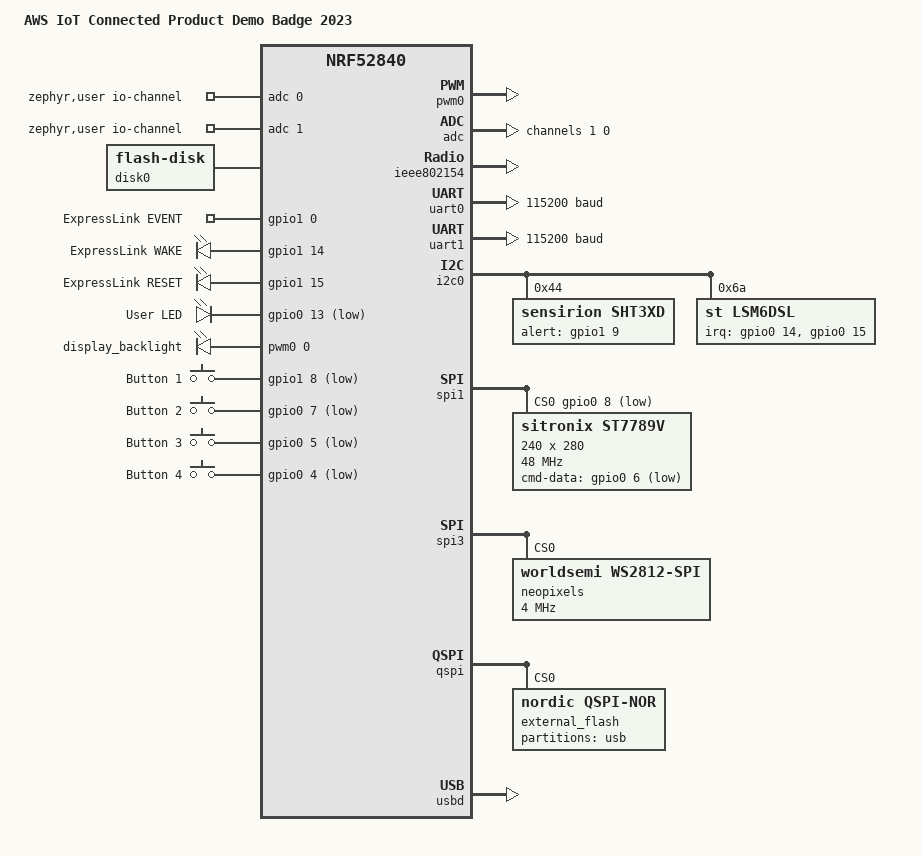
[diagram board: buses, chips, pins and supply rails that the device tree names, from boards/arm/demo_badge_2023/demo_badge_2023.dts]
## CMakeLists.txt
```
cmake_minimum_required(VERSION 3.20.0)

find_package(Zephyr REQUIRED HINTS $ENV{ZEPHYR_BASE})
project(demo-badge-2023)

FILE(GLOB app_sources
    src/*.c
    src/**/*.c
    ext/*.c
)

target_sources(app PRIVATE ${app_sources})

zephyr_include_directories(
    include
    ext
)
```

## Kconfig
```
mainmenu "AWS IoT Connected Product Demo Badge 2023"

menu "Amazon Sidewalk"

config SM_TIMER_DEMO_CAPABILITY_PERIOD_MS
        prompt "Capability period in ms"
        int
        default 5000
        help
               Delay in ms to wait after device is registered to send capability to cloud

config SM_TIMER_CONNECT_LINK_TYPE_1_DELAY_MS
        prompt "BLE Connection request delay after inactivity in ms"
        int
        default 60000
        help
                If operating in BLE mode the connection request has to be sent before any message can be send.
                This config determines delay between connection requests.

config SM_TIMER_CONNECT_LINK_TYPE_1_INIT_DELAY_MS
        prompt "BLE Initial connection request delay in ms"
        int
        default 5000
        help
                After device has been registered and time sync the connection request has to be sent.
                This config determines the delay before first connection request.

config SM_TIMER_DEMO_NOTIFY_SENSOR_DATA_PERIOD_MS
        prompt "Sensor data sending period in ms"
        int
        default 15000
        help
                Period between sending sensor messages from device to cloud.
                Those messages also contain the state of buttons.

endmenu

rsource "${ZEPHYR_BASE}/../sidewalk/samples/common/Kconfig.defconfig"

source "Kconfig.zephyr"
```

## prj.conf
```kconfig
CONFIG_DEBUG_INFO=y
CONFIG_DEBUG_THREAD_INFO=y

CONFIG_MPU_STACK_GUARD=y

CONFIG_HEAP_MEM_POOL_SIZE=70000

# Logging
CONFIG_LOG=y
CONFIG_LOG_OUTPUT_FORMAT_LINUX_TIMESTAMP=y
CONFIG_LOG_PRINTK=y
CONFIG_LOG_MODE_IMMEDIATE=y

# Sidewalk
CONFIG_SIDEWALK=y
CONFIG_SIDEWALK_DFU=n
CONFIG_SIDEWALK_CLI=y
CONFIG_SIDEWALK_LOG_LEVEL_INF=y
CONFIG_SIDEWALK_BLE_ADV_INT_TRANSITION=3600
CONFIG_SIDEWALK_BLE_ADV_INT_FAST=320

# Peripherals
# CONFIG_EARLY_CONSOLE=y
CONFIG_STDOUT_CONSOLE=y
CONFIG_UART_CONSOLE=y
CONFIG_CONSOLE=y

CONFIG_SERIAL=y
CONFIG_UART_ASYNC_API=y
CONFIG_UART_0_INTERRUPT_DRIVEN=n
CONFIG_UART_0_ASYNC=y
CONFIG_UART_0_NRF_HW_ASYNC=y
CONFIG_UART_0_NRF_HW_ASYNC_TIMER=4

CONFIG_EVENTS=y
CONFIG_BASE64=y
CONFIG_ADC=y
CONFIG_GPIO=y
CONFIG_PWM=y
CONFIG_I2C=y
CONFIG_SPI=y
CONFIG_SENSOR=y
CONFIG_LED=y
CONFIG_LED_STRIP=y
CONFIG_WS2812_STRIP=y
CONFIG_SHT3XD_SINGLE_SHOT_MODE=y

CONFIG_PINCTRL=y

CONFIG_FILE_SYSTEM=y
CONFIG_FILE_SYSTEM_SHELL=y
CONFIG_FILE_SYSTEM_MKFS=y
CONFIG_FAT_FILESYSTEM_ELM=y
CONFIG_FS_FATFS_MOUNT_MKFS=y
CONFIG_FS_FATFS_LFN=y
CONFIG_FLASHDISK_VERIFY_PAGE_LAYOUT=y
CONFIG_FLASHDISK_LOG_LEVEL_ERR=y
CONFIG_DISK_ACCESS=y
CONFIG_DISK_DRIVER_FLASH=y

CONFIG_DISPLAY=y
CONFIG_DISPLAY_LOG_LEVEL_ERR=y

CONFIG_LVGL=y
CONFIG_LV_USE_LOG=y
CONFIG_LV_USE_LABEL=y
CONFIG_LV_USE_BTN=y
CONFIG_LV_USE_IMG=y
CONFIG_LV_USE_BMP=y
CONFIG_LV_USE_QRCODE=y
CONFIG_LV_FONT_MONTSERRAT_16=y
CONFIG_LV_MEM_CUSTOM=y
CONFIG_LV_Z_MEM_POOL_NUMBER_BLOCKS=8

# Bluetooth
CONFIG_BT_DEVICE_NAME="DemoBadge2023"

CONFIG_USE_SEGGER_RTT=n
CONFIG_RESET_ON_FATAL_ERROR=y
CONFIG_NEWLIB_LIBC=y
CONFIG_NEWLIB_LIBC_FLOAT_PRINTF=y
CONFIG_CBPRINTF_FP_SUPPORT=y

CONFIG_SHELL=y
CONFIG_SHELL_WILDCARD=n # otherwise ExpressLink AT commands with question mark will not work
CONFIG_SHELL_PROMPT_UART="demo_badge > "

# keep aligned to ExpressLink passthrough for OTW blocksize
CONFIG_SHELL_BACKEND_SERIAL_RX_RING_BUFFER_SIZE=512
CONFIG_SHELL_BACKEND_SERIAL_TX_RING_BUFFER_SIZE=512

CONFIG_FLASH=y
CONFIG_FLASH_MAP=y
CONFIG_FLASH_PAGE_LAYOUT=y
CONFIG_NORDIC_QSPI_NOR=y

# Disable raw flash access via shell to prevent workshop participants from bricking the device
CONFIG_FLASH_SHELL=n

CONFIG_USB_DEVICE_STACK=y
CONFIG_USB_DEVICE_INITIALIZE_AT_BOOT=y
CONFIG_USB_DEVICE_MANUFACTURER="AWS"
CONFIG_USB_DEVICE_PRODUCT="Demo Badge"
# value * 2mA = 500mA
CONFIG_USB_MAX_POWER=250

CONFIG_USB_MASS_STORAGE=y
CONFIG_USB_MASS_STORAGE_LOG_LEVEL_ERR=y
CONFIG_MASS_STORAGE_DISK_NAME="USB"

CONFIG_USB_CDC_ACM_LOG_LEVEL_OFF=y
CONFIG_USB_CDC_ACM_RINGBUF_SIZE=4096
CONFIG_BOOT_BANNER=y

# Build UF2 by default, supported by the Adafruit nRF52 Bootloader
CONFIG_BUILD_OUTPUT_UF2=y
CONFIG_USE_DT_CODE_PARTITION=y

# rely on device tree partition layout only
CONFIG_PARTITION_MANAGER_ENABLED=n
```

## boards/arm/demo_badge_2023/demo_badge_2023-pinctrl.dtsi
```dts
// Copyright Amazon.com, Inc. or its affiliates. All Rights Reserved.
// SPDX-License-Identifier: MIT-0

&pinctrl {
	pwm0_default: pwm0_default {
		group1 {
			psels = <NRF_PSEL(PWM_OUT0, 1, 3)>;
		};
	};

	pwm0_sleep: pwm0_sleep {
		group1 {
			psels = <NRF_PSEL(PWM_OUT0, 1, 3)>;
			low-power-enable;
		};
	};

	uart0_default: uart0_default {
		group1 {
			psels = <NRF_PSEL(UART_TX, 1, 2)>;
		};
		group2 {
			psels = <NRF_PSEL(UART_RX, 1, 1)>;
			bias-pull-up;
		};
	};

	uart0_sleep: uart0_sleep {
		group1 {
			psels = <NRF_PSEL(UART_TX, 1, 2)>,
					<NRF_PSEL(UART_RX, 1, 1)>;
			low-power-enable;
		};
	};

	uart1_default: uart1_default {
		group1 {
			psels = <NRF_PSEL(UART_TX, 1, 10)>;
		};
		group2 {
			psels = <NRF_PSEL(UART_RX, 1, 6)>;
			bias-pull-up;
		};
	};

	uart1_sleep: uart1_sleep {
		group1 {
			psels = <NRF_PSEL(UART_TX, 1, 10)>,
					<NRF_PSEL(UART_RX, 1, 6)>;
			low-power-enable;
		};
	};

	i2c0_default: i2c0_default {
		group1 {
			psels = <NRF_PSEL(TWIM_SDA, 0, 26)>,
					<NRF_PSEL(TWIM_SCL, 0, 27)>;
		};
	};

	i2c0_sleep: i2c0_sleep {
		group1 {
			psels = <NRF_PSEL(TWIM_SDA, 0, 26)>,
					<NRF_PSEL(TWIM_SCL, 0, 27)>;
			low-power-enable;
		};
	};

	spi1_default: spi1_default {
		group1 {
			psels = <NRF_PSEL(SPIM_SCK, 1, 4)>,
			        <NRF_PSEL(SPIM_MOSI, 1, 5)>,
			        <NRF_PSEL(SPIM_MISO, 0, 31)>;
		};
	};

	spi1_sleep: spi1_sleep {
		group1 {
			psels = <NRF_PSEL(SPIM_SCK, 1, 4)>,
			        <NRF_PSEL(SPIM_MOSI, 1, 5)>,
			        <NRF_PSEL(SPIM_MISO, 0, 31)>;
			low-power-enable;
		};
	};

	spi3_default: spi3_default {
		group1 {
			psels = <NRF_PSEL(SPIM_SCK, 0, 25)>, // not-connected in schematic
			<NRF_PSEL(SPIM_MOSI, 0, 12)>, // NEOPIXEL_DATA
			<NRF_PSEL(SPIM_MISO, 0, 30)>; // not-connected in schematic
		};
	};

	spi3_sleep: spi3_sleep {
		group1 {
			psels = <NRF_PSEL(SPIM_SCK, 0, 25)>, // not-connected in schematic
			<NRF_PSEL(SPIM_MOSI, 0, 12)>, // NEOPIXEL_DATA
			<NRF_PSEL(SPIM_MISO, 0, 30)>; // not-connected in schematic
			low-power-enable;
		};
	};

	qspi_default: qspi_default {
		group1 {
			psels = <NRF_PSEL(QSPI_SCK, 0, 19)>,
			        <NRF_PSEL(QSPI_IO0, 0, 20)>,
			        <NRF_PSEL(QSPI_IO1, 0, 21)>,
			        <NRF_PSEL(QSPI_IO2, 0, 22)>,
			        <NRF_PSEL(QSPI_IO3, 0, 23)>,
			        <NRF_PSEL(QSPI_CSN, 0, 17)>;
			nordic,drive-mode = <NRF_DRIVE_H0H1>;
		};
	};

	qspi_sleep: qspi_sleep {
		group1 {
			psels = <NRF_PSEL(QSPI_SCK, 0, 19)>,
			        <NRF_PSEL(QSPI_IO0, 0, 20)>,
			        <NRF_PSEL(QSPI_IO1, 0, 21)>,
			        <NRF_PSEL(QSPI_IO2, 0, 22)>,
			        <NRF_PSEL(QSPI_IO3, 0, 23)>;
			low-power-enable;
		};
		group2 {
			psels = <NRF_PSEL(QSPI_CSN, 0, 17)>;
			low-power-enable;
			bias-pull-up;
		};
	};
};
```

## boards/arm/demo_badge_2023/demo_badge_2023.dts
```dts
// Copyright Amazon.com, Inc. or its affiliates. All Rights Reserved.
// SPDX-License-Identifier: MIT-0

/dts-v1/;
#include <nordic/nrf52840_qiaa.dtsi>
#include <zephyr/dt-bindings/gpio/gpio.h>
#include <zephyr/dt-bindings/led/led.h>

#include "demo_badge_2023-pinctrl.dtsi"

/ {
	model = "AWS IoT Connected Product Demo Badge 2023";
	compatible = "amazon-web-services,demo-badge-2023";

	chosen {
		zephyr,console = &usb_cdc_acm_uart;
		zephyr,shell-uart = &usb_cdc_acm_uart;
		// zephyr,uart-mcumgr = &usb_cdc_acm_uart;
		// zephyr,bt-mon-uart = &usb_cdc_acm_uart;
		// zephyr,bt-c2h-uart = &usb_cdc_acm_uart;
		zephyr,sram = &sram0;
		zephyr,flash = &flash0;
		zephyr,code-partition = &slot0_partition;
		zephyr,ieee802154 = &ieee802154;
		zephyr,display = &st7789v;
	};

	aliases {
		user-led = &user_led;
		display-backlight = &display_backlight;
		neopixels = &neopixels;
		button1 = &button1;
		button2 = &button2;
		button3 = &button3;
		button4 = &button4;
		ambient-light = &ambient_light;
		battery-voltage = &battery_voltage;
		expresslink-event = &expresslink_event;
		expresslink-wake = &expresslink_wake;
		expresslink-reset = &expresslink_reset;
	};

	zephyr,user {
		io-channels = <&adc 0>, <&adc 1>; // input
	};

	disk0 {
		compatible = "zephyr,flash-disk";
		partition = <&usb_partition>;
		disk-name = "USB";
		cache-size = <4096>;
	};

	expresslink_inputs {
		compatible = "gpio-keys"; // misusing it as simple input binding
		expresslink_event: event {
			gpios = <&gpio1 0 GPIO_PULL_UP>;
			label = "ExpressLink EVENT";
		};
	};

	expresslink_outputs {
		compatible = "gpio-leds"; // misusing it as simple output binding
		expresslink_wake: wake {
			gpios = <&gpio1 14 GPIO_ACTIVE_HIGH>;
			label = "ExpressLink WAKE";
		};
		expresslink_reset: reset {
			gpios = <&gpio1 15 GPIO_ACTIVE_HIGH>;
			label = "ExpressLink RESET";
		};
	};

	leds {
		compatible = "gpio-leds";
		user_led: led_0 {
			gpios = <&gpio0 13 GPIO_ACTIVE_LOW>;
			label = "User LED";
		};
	};

	pwmleds {
		compatible = "pwm-leds";
		display_backlight: pwm_led_0 {
			pwms = <&pwm0 0 PWM_MSEC(20) PWM_POLARITY_NORMAL>;
		};
	};

	buttons {
		compatible = "gpio-keys";
		button1: button_1 {
			gpios = <&gpio1 8 (GPIO_PULL_UP | GPIO_ACTIVE_LOW)>;
			label = "Button 1";
		};
		button2: button_2 {
			gpios = <&gpio0 7 (GPIO_PULL_UP | GPIO_ACTIVE_LOW)>;
			label = "Button 2";
		};
		button3: button_3 {
			gpios = <&gpio0 5 (GPIO_PULL_UP | GPIO_ACTIVE_LOW)>;
			label = "Button 3";
		};
		button4: button_4 {
			gpios = <&gpio0 4 (GPIO_PULL_UP | GPIO_ACTIVE_LOW)>;
			label = "Button 4";
		};
	};
};

&uicr {
	gpio-as-nreset;
};

&pwm0 {
	status = "okay";
	pinctrl-0 = <&pwm0_default>;
	pinctrl-1 = <&pwm0_sleep>;
	pinctrl-names = "default", "sleep";
};

&adc {
	status = "okay";
	#address-cells = <1>;
	#size-cells = <0>;

	battery_voltage: channel@1 {
		reg = <1>;
		zephyr,gain = "ADC_GAIN_1_4";
		zephyr,reference = "ADC_REF_VDD_1_4";
		zephyr,acquisition-time = <ADC_ACQ_TIME(ADC_ACQ_TIME_MICROSECONDS, 20)>;
		zephyr,input-positive = <NRF_SAADC_AIN0>;
		zephyr,resolution = <14>;
	};

	ambient_light: channel@0 {
		reg = <0>;
		zephyr,gain = "ADC_GAIN_1_4";
		zephyr,reference = "ADC_REF_VDD_1_4";
		zephyr,acquisition-time = <ADC_ACQ_TIME(ADC_ACQ_TIME_MICROSECONDS, 20)>;
		zephyr,input-positive = <NRF_SAADC_AIN1>;
		zephyr,resolution = <14>;
	};
};

&ieee802154 {
	status = "okay";
};

&gpiote {
	status = "okay";
};

&gpio0 {
	status = "okay";
};

&gpio1 {
	status = "okay";
};

&uart0 {
	compatible = "nordic,nrf-uarte";
	status = "okay";
	current-speed = <115200>;
	pinctrl-0 = <&uart0_default>;
	pinctrl-1 = <&uart0_sleep>;
	pinctrl-names = "default", "sleep";
};

&uart1 {
	compatible = "nordic,nrf-uarte";
	status = "okay";
	current-speed = <115200>;
	pinctrl-0 = <&uart1_default>;
	pinctrl-1 = <&uart1_sleep>;
	pinctrl-names = "default", "sleep";
};

&i2c0 {
	compatible = "nordic,nrf-twi";
	status = "okay";
	pinctrl-0 = <&i2c0_default>;
	pinctrl-1 = <&i2c0_sleep>;
	pinctrl-names = "default", "sleep";

	sht3xd@44 {
		compatible = "sensirion,sht3xd";
		reg = <0x44>;
		alert-gpios = <&gpio1 9 GPIO_ACTIVE_HIGH>;
	};
	lsm6dsl@6a {
		compatible = "st,lsm6dsl";
		reg = <0x6a>;
		irq-gpios = <&gpio0 14 GPIO_ACTIVE_HIGH>, <&gpio0 15 GPIO_ACTIVE_HIGH>;
	};
};

&spi1 {
	compatible = "nordic,nrf-spi";
	status = "okay";
	pinctrl-0 = <&spi1_default>;
	pinctrl-1 = <&spi1_sleep>;
	pinctrl-names = "default", "sleep";

	cs-gpios = <&gpio0 8 GPIO_ACTIVE_LOW>;

	st7789v: st7789v@0 {
		reg = <0>;
		compatible = "sitronix,st7789v";
		spi-max-frequency = <48000000>; /* 48MHz */
		cmd-data-gpios = <&gpio0 6 GPIO_ACTIVE_LOW>;    /* DC */
		// reset-gpios = <&gpioX XX GPIO_ACTIVE_LOW>;
		width = <240>;
		height = <280>;
		x-offset = <0>;
		y-offset = <20>;
		vcom = <0x19>;
		gctrl = <0x35>;
		// vrhs = <0x12>;
		// vdvs = <0x20>;
		mdac = <0x00>;
		gamma = <0x01>;
		colmod = <0x05>;
		lcm = <0x2c>;
		porch-param = [ 0c 0c 00 33 33  ];
		cmd2en-param = [ 5a 69 02 01  ];
		pwctrl1-param = [ a4 a1  ];
		pvgam-param = [ D0 04 0D 11 13 2B 3F 54 4C 18 0D 0B 1F 23  ];
		nvgam-param = [ D0 04 0C 11 13 2C 3F 44 51 2F 1F 1F 20 23  ];
		ram-param = [ 00 F8  ]; // or F0
		rgb-param = [ CD 08 14  ];
	};
};

&spi3 {
	compatible = "nordic,nrf-spim";
	status = "okay";
	pinctrl-0 = <&spi3_default>;
	pinctrl-1 = <&spi3_sleep>;
	pinctrl-names = "default", "sleep";

	// not really an SPI device, but we mis-use the SPI peripheral to drive the WS2812 data signal
	neopixels: ws2812@0 {
		compatible = "worldsemi,ws2812-spi";

		/* SPI */
		reg = <0>; /* ignored, but necessary for SPI bindings */
		spi-max-frequency = <4000000>;

		/* WS2812 */
		chain-length = <3>;
		color-mapping = <LED_COLOR_ID_GREEN LED_COLOR_ID_RED LED_COLOR_ID_BLUE>;
		spi-one-frame = <0x70>;
		spi-zero-frame = <0x40>;
	};
};

&qspi {
	status = "okay";
	pinctrl-0 = <&qspi_default>;
	pinctrl-1 = <&qspi_sleep>;
	pinctrl-names = "default", "sleep";
	external_flash: external_flash@0 {
		// using 16MB / 128Mbit flash module W25Q128BV
		compatible = "nordic,qspi-nor";
		reg = <0>;
		jedec-id = [ ef 40 18  ]; // W25Q128
		sck-frequency = <8000000>; // should go up to 50 MHz
		size-in-bytes = <16777216>;
		readoc = "read4io";
		writeoc = "pp4o";
	};
};

zephyr_udc0: &usbd {
	compatible = "nordic,nrf-usbd";
	status = "okay";

	usb_cdc_acm_uart: cdc-acm-uart {
		compatible = "zephyr,cdc-acm-uart";
		rx-fifo-size = <2048>;
	};
};

&flash0 {
	partitions {
		compatible = "fixed-partitions";
		#address-cells = <1>;
		#size-cells = <1>;

		boot_mbr_partition: partition@0 {
			label = "boot_mbr";
			reg = <0x00000000 0x00001000>;
		};

		slot0_partition: partition@1000 {
			label = "code";
			reg = <0x00001000 0x00e9000>;
		};

		storage_partition: partition@ea000 {
			label = "storage_partition";
			reg = <0x000ea000 0x0001000>;
		};

		mfg_storage: partition@eb000 {
			label = "mfg_storage";
			reg = <0x000eb000 0x0001000>;
		};

		sidewalk_storage: partition@ec000 {
			label = "sidewalk_storage";
			reg = <0x000ec000 0x0001000>;
		};

		// production (non-debug) Adafruit_nRF52_Bootloader

		bootloader_partition: partition@f4000 {
			label = "bootloader";
			reg = <0x000f4000 0x00008000>;
		};

		bootloader_config_partition: partition@fc000 {
			label = "bootloader_config_partition";
			reg = <0x00fc000 0x00002000>;
		};

		bootloader_mbr_params_partition: partition@fe000 {
			label = "bootloader_mbr_params";
			reg = <0x000fe000 0x00001000>;
		};

		bootloader_settings_partition: partition@ff000 {
			label = "bootloader_settings";
			reg = <0x000ff000 0x00001000>;
		};
	};
};

&external_flash {
	partitions {
		compatible = "fixed-partitions";
		#address-cells = <1>;
		#size-cells = <1>;

		usb_partition: partition@0 {
			label = "usb";
			reg = <0x00000000 0x00fff000>;
		};
	};
};
```

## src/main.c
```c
// Copyright Amazon.com, Inc. or its affiliates. All Rights Reserved.
// SPDX-License-Identifier: MIT-0

#define NRF_LOG_ENABLED 1
#define NRF_LOG_BACKEND_UART_ENABLED 1
#define NRF_LOG_BACKEND_SERIAL_USES_RTT 0

#include <time.h>

#include <zephyr/kernel.h>
#include <zephyr/logging/log.h>
LOG_MODULE_REGISTER(main);

#include "badge.h"

init_retcode_t init_retcode;

int main(void) {
    init_retcode.primary_thread = init_primary_thread();
    init_retcode.user_led = init_user_led();
    init_retcode.led_strip = init_led_strip();
    init_retcode.buttons = init_buttons();
    init_retcode.ambient_light = init_ambient_light();
    init_retcode.sht31 = init_sht31();
    init_retcode.lsm6dsl = init_lsm6dsl();
    init_retcode.expresslink = init_expresslink();
    init_retcode.display = init_display();
    init_retcode.usb_mass_storage = init_usb_mass_storage();

    k_msleep(1000);
    restore_active_workshop_module();

    return 0;
}
```

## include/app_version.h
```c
// Copyright Amazon.com, Inc. or its affiliates. All Rights Reserved.
// SPDX-License-Identifier: MIT-0

#ifndef APP_VERSION_H
#define APP_VERSION_H

extern const char *APP_GIT_SHA;
extern const char *APP_GIT_TS;

#endif // APP_VERSION_H
```

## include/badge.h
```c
// Copyright Amazon.com, Inc. or its affiliates. All Rights Reserved.
// SPDX-License-Identifier: MIT-0

#ifndef BADGE_H
#define BADGE_H

#include <lvgl.h>
#include <stdbool.h>
#include <stdio.h>
#include <zephyr/drivers/sensor.h>
#include <zephyr/shell/shell.h>

#include "peripherals/expresslink.h"

#define USB_PATH(file) ( "/" CONFIG_MASS_STORAGE_DISK_NAME ":/" file )

#define HEX_TO_BYTE(_a, _b) (((((_a) % 32 + 9) % 25) << 4) + (((_b) % 32 + 9) % 25))

#define WORKSHOP_MODULE_WELCOME_SCREEN "welcome_screen"
#define WORKSHOP_MODULE_SELF_TEST "self_test"
#define WORKSHOP_MODULE_MQTT_PUB_SUB "mqtt_pub_sub"
#define WORKSHOP_MODULE_DEVICE_LOCATION "device_location"
#define WORKSHOP_MODULE_SENSOR_DATA_INGESTION "sensor_data_ingestion"
#define WORKSHOP_MODULE_DIGITAL_TWIN_AND_SHADOW "digital_twin_and_shadow"
#define WORKSHOP_MODULE_IMAGE_TRANSFER "image_transfer"
#define WORKSHOP_MODULE_SIDEWALK "sidewalk"
#define WORKSHOP_MODULE_BLE_SENSOR_PERIPHERAL "ble_sensor_peripheral"

int init_primary_thread(void);
int init_user_led(void);
int init_buttons(void);
int init_ambient_light(void);
int init_sht31(void);
int init_lsm6dsl(void);
int init_led_strip(void);
int init_expresslink(void);
int init_display(void);
int init_usb_mass_storage(void);
int init_settings(void);
int init_sidewalk_mfg_payload(void);

void run(const char *name, void *function);
void run_without_storing(const char *name, void *function);
void run_args(const char *name, void *function, bool store, void *p1, void *p2, void *p3);
bool shutdown_request_received(void);
void gracefully_shutdown_primary_thread(void);

void store_active_workshop_module(const char *);
void restore_active_workshop_module(void);

int sidewalk_wipe(void);
int inject_sidewalk_mfg_payload(const struct shell *sh, size_t argc, char **argv);
void usb_mass_storage_wiping(const struct shell *sh, size_t argc, char **argv);

void self_test(void *, void *, void *);
void welcome_screen(void *, void *, void *);
void mqtt_pub_sub(void *, void *, void *);
void device_location(void *, void *, void *);
void sensor_data_ingestion(void *, void *, void *);
void digital_twin_and_shadow(void *, void *, void *);
void image_transfer(void *, void *, void *);
void start_sidewalk_sample(void *, void *, void *);
void ble_sensor_peripheral(void *, void *, void *);

bool shell_check_arg_truthy(char *arg);
bool shell_check_arg_falsy(char *arg);

int wipe_partition(uint8_t partition_id, size_t partition_size);

void turn_user_led_on(void);
void turn_user_led_off(void);
void toggle_user_led(void);

void led_strip_refresh(void);
void led_strip_set_brightness(uint8_t value);
void led_strip_set_pixel(size_t index, uint8_t r, uint8_t g, uint8_t b);

void display_handler();
void display_handler_async();
lv_obj_t *show_picture(const char *path);
void delete_picture();
lv_obj_t *show_qr_code(const char *url);
void delete_qr_code();
void set_display_brightness(int v);

typedef struct init_retcode_t {
    int8_t primary_thread;
    int8_t user_led;
    int8_t led_strip;
    int8_t buttons;
    int8_t ambient_light;
    int8_t sht31;
    int8_t lsm6dsl;
    int8_t expresslink;
    int8_t display;
    int8_t usb_mass_storage;
    int8_t settings;
} init_retcode_t;

typedef struct sht3xd_sample {
    float32_t temperature;
    float32_t humidity;
} sht3xd_sample;

int read_sht31_sample(sht3xd_sample *value);

typedef struct lsm6dsl_sample {
    float32_t accel_x;
    float32_t accel_y;
    float32_t accel_z;
    float32_t angular_velocity_x;
    float32_t angular_velocity_y;
    float32_t angular_velocity_z;
} lsm6dsl_sample;

int read_lsm6dsl_sample(lsm6dsl_sample *value);

int16_t read_ambient_light(void);

volatile extern bool button1_pressed;
volatile extern bool button2_pressed;
volatile extern bool button3_pressed;
volatile extern bool button4_pressed;

bool workshop_wifi_device_location_override(char *response, size_t response_len);

#endif // BADGE_H
```

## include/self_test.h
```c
// Copyright Amazon.com, Inc. or its affiliates. All Rights Reserved.
// SPDX-License-Identifier: MIT-0

#ifndef SELF_TEST_H
#define SELF_TEST_H

#include <zephyr/kernel.h>

int run_user_led(void);
int run_buttons(void);
int run_ambient_light(void);
int run_sht31(void);
int run_lsm6dsl(void);
int run_led_strip(void);
int run_expresslink(void);
int run_expresslink_debug(void);
int run_display(void);

#endif // SELF_TEST_H
```

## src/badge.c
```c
// Copyright Amazon.com, Inc. or its affiliates. All Rights Reserved.
// SPDX-License-Identifier: MIT-0

#include <stdio.h>
#include <stdbool.h>
#include <string.h>

#include <zephyr/drivers/flash.h>
#include <zephyr/fs/fs.h>
#include <zephyr/storage/flash_map.h>
#include <zephyr/logging/log.h>
LOG_MODULE_REGISTER(demo_badge);

bool shell_check_arg_truthy(char *arg) {
    return (
        strcmp(arg, "1") == 0 ||
        strcmp(arg, "true") == 0 ||
        strcmp(arg, "True") == 0 ||
        strcmp(arg, "y") == 0 ||
        strcmp(arg, "Y") == 0 ||
        strcmp(arg, "yes") == 0 ||
        strcmp(arg, "Yes") == 0 ||
        strcmp(arg, "on") == 0 ||
        strcmp(arg, "On") == 0 ||
        strcmp(arg, "ON") == 0);
}

bool shell_check_arg_falsy(char *arg) {
    return (
        strcmp(arg, "0") == 0 ||
        strcmp(arg, "false") == 0 ||
        strcmp(arg, "False") == 0 ||
        strcmp(arg, "n") == 0 ||
        strcmp(arg, "N") == 0 ||
        strcmp(arg, "no") == 0 ||
        strcmp(arg, "No") == 0 ||
        strcmp(arg, "off") == 0 ||
        strcmp(arg, "Off") == 0 ||
        strcmp(arg, "OFF") == 0);
}

int wipe_partition(uint8_t partition_id, size_t partition_size) {
    const struct flash_area *partition;
    int ret = flash_area_open(partition_id, &partition);
    if (ret != 0) {
        LOG_ERR("failed to open flash area with id %d: %d", partition_id, ret);
        return ret;
    }
    ret = flash_area_erase(partition, 0, partition_size);
    if (ret != 0) {
        LOG_ERR("failed to erase flash area with id %d and size %d: %d", partition_id, partition_size, ret);
        return ret;
    }
    flash_area_close(partition);
    return 0;
}
```
